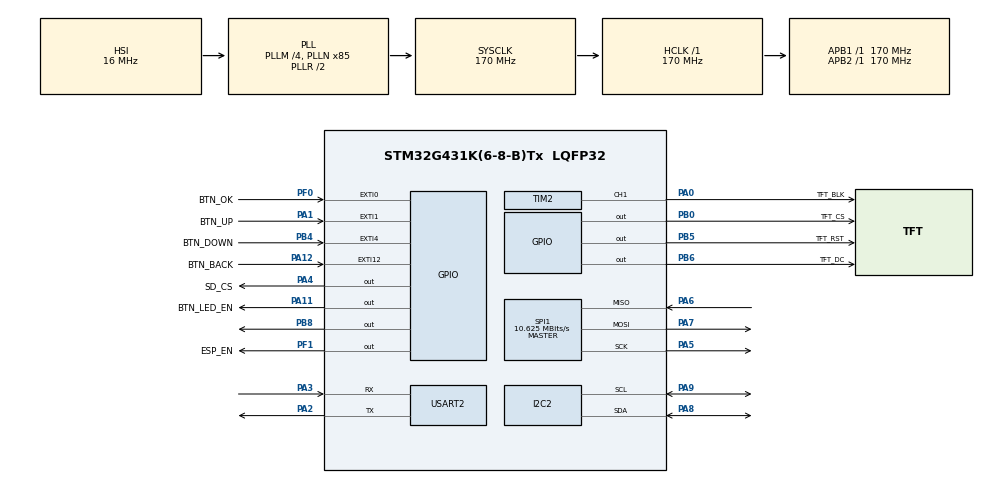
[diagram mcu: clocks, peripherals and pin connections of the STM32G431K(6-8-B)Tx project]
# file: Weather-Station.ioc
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FATFS._USE_STRFUNC=1
I2C2.Timing=0x40B285C2
Mcu.Family=STM32G4
Mcu.Name=STM32G431K(6-8-B)Tx
Mcu.Package=LQFP32
NUCLEO-G431KB.LD2=true
NUCLEO-G431KB.VCP=true
NVIC.EXTI0_IRQn=true\:0\:0\:false\:false\:true\:true\:true\:true
NVIC.EXTI15_10_IRQn=true\:0\:0\:false\:false\:true\:true\:true\:true
NVIC.EXTI1_IRQn=true\:0\:0\:false\:false\:true\:true\:true\:true
NVIC.EXTI4_IRQn=true\:0\:0\:false\:false\:true\:true\:true\:true
NVIC.PriorityGroup=NVIC_PRIORITYGROUP_4
NVIC.RTC_WKUP_IRQn=true\:0\:0\:false\:false\:true\:true\:true\:true
PA0.GPIO_Label=TFT_BLK
PA0.Signal=S_TIM2_CH1
PA1.GPIO_Label=BTN_UP
PA1.GPIO_ModeDefaultEXTI=GPIO_MODE_IT_FALLING
PA1.GPIO_PuPd=GPIO_PULLUP
PA1.Signal=GPXTI1
PA11.GPIO_Label=BTN_LED_EN
PA11.Signal=GPIO_Output
PA12.GPIO_Label=BTN_BACK
PA12.GPIO_ModeDefaultEXTI=GPIO_MODE_IT_FALLING
PA12.GPIO_PuPd=GPIO_PULLUP
PA12.Signal=GPXTI12
PA13.GPIO_Label=T_SWDIO
PA13.Signal=SYS_JTMS-SWDIO
PA14.GPIO_Label=T_SWCLK
PA14.Signal=SYS_JTCK-SWCLK
PA2.Mode=Asynchronous
PA2.Signal=USART2_TX
PA3.Mode=Asynchronous
PA3.Signal=USART2_RX
PA4.GPIO_Label=SD_CS
PA4.PinState=GPIO_PIN_SET
PA4.Signal=GPIO_Output
PA5.Mode=Full_Duplex_Master
PA5.Signal=SPI1_SCK
PA6.Mode=Full_Duplex_Master
PA6.Signal=SPI1_MISO
PA7.Mode=Full_Duplex_Master
PA7.Signal=SPI1_MOSI
PA8.Mode=I2C
PA8.Signal=I2C2_SDA
PA9.Mode=I2C
PA9.Signal=I2C2_SCL
PB0.GPIO_Label=TFT_CS
PB0.PinState=GPIO_PIN_SET
PB0.Signal=GPIO_Output
PB3.GPIO_Label=T_SWO
PB3.Signal=SYS_JTDO-SWO
PB4.GPIO_Label=BTN_DOWN
PB4.GPIO_ModeDefaultEXTI=GPIO_MODE_IT_FALLING
PB4.GPIO_PuPd=GPIO_PULLUP
PB4.Signal=GPXTI4
PB5.GPIO_Label=TFT_RST
PB5.Signal=GPIO_Output
PB6.GPIO_Label=TFT_DC
PB6.Signal=GPIO_Output
PB8-BOOT0.Signal=GPIO_Output
PF0-OSC_IN.GPIO_Label=BTN_OK
PF0-OSC_IN.GPIO_ModeDefaultEXTI=GPIO_MODE_IT_FALLING
PF0-OSC_IN.GPIO_PuPd=GPIO_PULLUP
PF0-OSC_IN.Signal=GPXTI0
PF1-OSC_OUT.GPIO_Label=ESP_EN
PF1-OSC_OUT.Signal=GPIO_Output
ProjectManager.HeapSize=0x200
ProjectManager.StackSize=0x400
ProjectManager.TargetToolchain=STM32CubeIDE
RCC.ADC12Freq_Value=170000000
RCC.AHBFreq_Value=170000000
RCC.APB1Freq_Value=170000000
RCC.APB1TimFreq_Value=170000000
RCC.APB2Freq_Value=170000000
RCC.APB2TimFreq_Value=170000000
RCC.CortexFreq_Value=170000000
RCC.EXTERNAL_CLOCK_VALUE=12288000
RCC.HCLKFreq_Value=170000000
RCC.HSE_VALUE=8000000
RCC.HSI48_VALUE=48000000
RCC.HSI_VALUE=16000000
RCC.LSE_VALUE=32768
RCC.PLLM=RCC_PLLM_DIV4
RCC.PLLN=85
RCC.SYSCLKFreq_VALUE=170000000
RCC.SYSCLKSource=RCC_SYSCLKSOURCE_PLLCLK
RCC.USBFreq_Value=170000000
RCC.VCOOutputFreq_Value=340000000
RTC.WakeUpClock=RTC_WAKEUPCLOCK_CK_SPRE_16BITS
RTC.WakeUpCounter=59
SH.S_TIM2_CH1.0=TIM2_CH1,PWM Generation1 CH1
SPI1.BaudRatePrescaler=SPI_BAUDRATEPRESCALER_16
SPI1.CalculateBaudRate=10.625 MBits/s
SPI1.DataSize=SPI_DATASIZE_8BIT
SPI1.Direction=SPI_DIRECTION_2LINES
SPI1.Mode=SPI_MODE_MASTER
SPI1.NSSPMode=SPI_NSS_PULSE_DISABLE
SPI1.VirtualType=VM_MASTER
TIM2.Channel-PWM\ Generation1\ CH1=TIM_CHANNEL_1
TIM2.PeriodNoDither=999
TIM2.Prescaler=169
VP_FATFS_VS_Generic.Mode=User_defined
VP_NUCLEO-G431KB_VS_BSP_COMMON.Mode=COMMON
VP_RTC_VS_RTC_Activate.Mode=RTC_Enabled
VP_RTC_VS_RTC_WakeUp_intern.Mode=WakeUp
VP_SYS_VS_DBSignals.Mode=DisableDeadBatterySignals
VP_TIM2_VS_ClockSourceINT.Mode=Internal
board=NUCLEO-G431KB

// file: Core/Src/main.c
/* USER CODE BEGIN Header */
/**
  ******************************************************************************
  * @file           : main.c
  * @brief          : Main program body
  ******************************************************************************
  * @attention
  *
  * Copyright (c) 2026 STMicroelectronics.
  * All rights reserved.
  *
  * This software is licensed under terms that can be found in the LICENSE file
  * in the root directory of this software component.
  * If no LICENSE file comes with this software, it is provided AS-IS.
  *
  ******************************************************************************
  */
/* USER CODE END Header */
#include "main.h"
#include "app_fatfs.h"

/* USER CODE BEGIN Includes */
#include "app_config.h"
#include "bme680.h"
#include "ltr390.h"
#include "ili9341.h"
#include "sd_spi.h"
#include "sd_logger.h"
#include <stdio.h>
#include <string.h>
/* USER CODE END Includes */

/* USER CODE BEGIN PD */
#define FW_VERSION  "1.0.0"
/* USER CODE END PD */

COM_InitTypeDef BspCOMInit;

I2C_HandleTypeDef hi2c2;

RTC_HandleTypeDef hrtc;

SPI_HandleTypeDef hspi1;

TIM_HandleTypeDef htim2;

/* USER CODE BEGIN PV */
static BME680_Dev   bme680;
static LTR390_Dev   ltr390;
static ILI9341_Dev  tft;
SD_Dev              sd_card;
static uint32_t     lastSensorRead = 0;
/* USER CODE END PV */

void SystemClock_Config(void);
static void MX_GPIO_Init(void);
static void MX_RTC_Init(void);
static void MX_SPI1_Init(void);
static void MX_TIM2_Init(void);
static void MX_I2C2_Init(void);
/* USER CODE BEGIN PFP */
static void I2C_BusScan(I2C_HandleTypeDef *hi2c);
static void TFT_DrawDashboardLayout(void);
static void TFT_UpdateDashboardValues(const BME680_Data *bd, const LTR390_Data *ld);
/* USER CODE END PFP */

/* USER CODE BEGIN 0 */

/* ── I2C bus scan: probe every 7-bit address and print results ──────────── */
static void I2C_BusScan(I2C_HandleTypeDef *hi2c)
{
    printf("I2C1 bus scan (0x01 – 0x7F):\r\n");
    uint8_t found = 0;
    for (uint8_t addr = 1; addr < 128; addr++) {
        if (HAL_I2C_IsDeviceReady(hi2c, (uint16_t)(addr << 1), 1, 10) == HAL_OK) {
            printf("  [0x%02X] ACK", addr);
            if (addr == BME680_I2C_ADDR) printf(" ← BME680");
            if (addr == LTR390_I2C_ADDR) printf(" ← LTR390");
            printf("\r\n");
            found++;
        }
    }
    printf("  %u device(s) found.\r\n\r\n", found);
}

/* ── Draw static dashboard layout on ILI9341 ────────────────────────────── */
static void TFT_DrawDashboardLayout(void)
{
    /* Clear screen to dark navy */
    ILI9341_FillScreen(&tft, ILI9341_BLACK);

    /* Header Bar */
    ILI9341_FillRect(&tft, 0, 0, tft.width, 30, ILI9341_NAVY);
    ILI9341_DrawString(&tft, 10, 8, "WEATHER STATION v1.0", ILI9341_WHITE, ILI9341_NAVY, 2);

    /* Cards Outline / Divider Lines */
    ILI9341_DrawHLine(&tft, 0, 31, tft.width, ILI9341_DARKCYAN);
    ILI9341_DrawHLine(&tft, 0, 130, tft.width, ILI9341_DARKGREY);
    ILI9341_DrawVLine(&tft, 160, 32, 198, ILI9341_DARKGREY);
    ILI9341_DrawHLine(&tft, 0, 230, tft.width, ILI9341_DARKCYAN);

    /* Section Labels */
    /* Left column */
    ILI9341_DrawString(&tft, 10, 38, "TEMPERATURE", ILI9341_CYAN, ILI9341_BLACK, 1);
    ILI9341_DrawString(&tft, 10, 84, "HUMIDITY", ILI9341_CYAN, ILI9341_BLACK, 1);
    ILI9341_DrawString(&tft, 10, 138, "PRESSURE", ILI9341_CYAN, ILI9341_BLACK, 1);
    ILI9341_DrawString(&tft, 10, 184, "DEW POINT", ILI9341_CYAN, ILI9341_BLACK, 1);

    /* Right column */
    ILI9341_DrawString(&tft, 170, 38, "AMBIENT LIGHT", ILI9341_YELLOW, ILI9341_BLACK, 1);
    ILI9341_DrawString(&tft, 170, 84, "UV INDEX", ILI9341_YELLOW, ILI9341_BLACK, 1);
    ILI9341_DrawString(&tft, 170, 138, "AIR QUALITY (IAQ)", ILI9341_GREEN, ILI9341_BLACK, 1);
    ILI9341_DrawString(&tft, 170, 184, "GAS RESISTANCE", ILI9341_GREEN, ILI9341_BLACK, 1);
}

/* ── Update live values on ILI9341 dashboard ────────────────────────────── */
static void TFT_UpdateDashboardValues(const BME680_Data *bd, const LTR390_Data *ld)
{
    char buf[32];

    /* Temperature */
    snprintf(buf, sizeof(buf), "%5.1f C", bd->temperature);
    ILI9341_DrawString(&tft, 10, 52, buf, ILI9341_WHITE, ILI9341_BLACK, 2);

    /* Humidity */
    snprintf(buf, sizeof(buf), "%5.1f %%", bd->humidity);
    ILI9341_DrawString(&tft, 10, 98, buf, ILI9341_WHITE, ILI9341_BLACK, 2);

    /* Pressure */
    snprintf(buf, sizeof(buf), "%6.1f hPa", bd->pressure);
    ILI9341_DrawString(&tft, 10, 152, buf, ILI9341_WHITE, ILI9341_BLACK, 2);

    /* Dew Point */
    snprintf(buf, sizeof(buf), "%5.1f C", bd->dew_point);
    ILI9341_DrawString(&tft, 10, 198, buf, ILI9341_WHITE, ILI9341_BLACK, 2);

    /* Ambient Light (Lux) */
    snprintf(buf, sizeof(buf), "%5.0f Lux", ld->lux);
    ILI9341_DrawString(&tft, 170, 52, buf, ILI9341_WHITE, ILI9341_BLACK, 2);

    /* UV Index */
    snprintf(buf, sizeof(buf), "%4.1f UV ", ld->uv_index);
    ILI9341_DrawString(&tft, 170, 98, buf, ILI9341_WHITE, ILI9341_BLACK, 2);

    /* Air Quality (IAQ) */
    if (bd->gas_valid) {
        snprintf(buf, sizeof(buf), "%3.0f %-6s", bd->iaq_score, bd->iaq_text);
        uint16_t iaq_color = (bd->iaq_score <= 50.0f) ? ILI9341_GREEN :
                             (bd->iaq_score <= 100.0f) ? ILI9341_YELLOW : ILI9341_ORANGE;
        ILI9341_DrawString(&tft, 170, 152, buf, iaq_color, ILI9341_BLACK, 2);
    } else {
        ILI9341_DrawString(&tft, 170, 152, "Warmup... ", ILI9341_DARKGREY, ILI9341_BLACK, 2);
    }

    /* Gas Resistance */
    if (bd->gas_valid) {
        snprintf(buf, sizeof(buf), "%5.1f kOhm", bd->gas_resistance / 1000.0f);
        ILI9341_DrawString(&tft, 170, 198, buf, ILI9341_WHITE, ILI9341_BLACK, 2);
    } else {
        ILI9341_DrawString(&tft, 170, 198, "--------- ", ILI9341_DARKGREY, ILI9341_BLACK, 2);
    }
}

/* USER CODE END 0 */

int main(void)
{

  /* MCU Configuration--------------------------------------------------------*/

  /* Reset of all peripherals, Initializes the Flash interface and the Systick. */
  HAL_Init();

  /* Configure the system clock */
  SystemClock_Config();

  /* Initialize all configured peripherals */
  MX_GPIO_Init();
  MX_RTC_Init();
  MX_SPI1_Init();
  MX_TIM2_Init();
  if (MX_FATFS_Init() != APP_OK) {
    Error_Handler();
  }
  MX_I2C2_Init();

  /* Initialize leds */
  BSP_LED_Init(LED_GREEN);

  /* Initialize COM1 port (115200, 8 bits (7-bit data + 1 stop bit), no parity */
  BspCOMInit.BaudRate   = 115200;
  BspCOMInit.WordLength = COM_WORDLENGTH_8B;
  BspCOMInit.StopBits   = COM_STOPBITS_1;
  BspCOMInit.Parity     = COM_PARITY_NONE;
  BspCOMInit.HwFlowCtl  = COM_HWCONTROL_NONE;
  if (BSP_COM_Init(COM1, &BspCOMInit) != BSP_ERROR_NONE)
  {
    Error_Handler();
  }

  /* Infinite loop */
  /* USER CODE BEGIN WHILE */

  /* ── Startup banner over USART2 ──────────────────────────────────────── */
    printf("\r\n");
    printf("========================================\r\n");
  #if OUTDOOR_MODE
    printf("  Weather Station v%s  [OUTDOOR]\r\n", FW_VERSION);
  #else
    printf("  Weather Station v%s  [INDOOR]\r\n", FW_VERSION);
  #endif
    printf("  STM32G431KB @ 170 MHz\r\n");
    printf("========================================\r\n\r\n");

    /* ── I2C bus scan ────────────────────────────────────────────────────── */
    I2C_BusScan(&hi2c2);

    /* ── BME680 init ─────────────────────────────────────────────────────── */
    printf("BME680: ");
    BME680_Status bme_st = BME680_Init(&bme680, &hi2c2, BME680_I2C_ADDR);
    if (bme_st == BME680_OK)
        printf("OK (chip ID 0x61)\r\n");
    else
        printf("FAIL (err %d)\r\n", bme_st);

    /* ── LTR390 init ─────────────────────────────────────────────────────── */
    printf("LTR390: ");
    LTR390_Status ltr_st = LTR390_Init(&ltr390, &hi2c2, LTR390_I2C_ADDR);
    if (ltr_st == LTR390_OK)
        printf("OK (part ID 0xB2)\r\n");
    else
        printf("FAIL (err %d)\r\n", ltr_st);

    /* ── ILI9341 2.8\" TFT display init ────────────────────────────────────── */
    printf("ILI9341: ");
    ILI9341_Init(&tft, &hspi1, &htim2, TIM_CHANNEL_1);
    ILI9341_SetRotation(&tft, ILI9341_ROTATION_LANDSCAPE);
    printf("OK (%u x %u)\r\n", tft.width, tft.height);

    /* Draw static dashboard frame on screen */
    TFT_DrawDashboardLayout();

    /* ── MicroSD card init (SPI1) ────────────────────────────────────────── */
    #if ENABLE_SD_LOGGING
        printf("MicroSD: ");
        SD_Status sd_st = SD_Init(&sd_card, &hspi1);
        if (sd_st == SD_OK) {
            uint32_t mb = (sd_card.sector_count / 2048);
            printf("OK (Type 0x%02X, Capacity: %lu MB)\r\n", sd_card.card_type, (unsigned long)mb);
            SD_Logger_Init();
            printf("\r\n");
        } else {
            printf("FAIL (err %d - check card insertion)\r\n\r\n", sd_st);
        }
    #else
        printf("MicroSD: Disabled (v%s)\r\n\r\n", FW_VERSION);
    #endif
  while (1)
  {
    /* USER CODE END WHILE */

    /* USER CODE BEGIN 3 */

    /* ── Periodic sensor read & display refresh (every SENSOR_POLL_MS) ── */
    if ((HAL_GetTick() - lastSensorRead) >= SENSOR_POLL_MS)
    {
        lastSensorRead = HAL_GetTick();

        /* BME680 — forced mode T/P/H + Gas */
#if OUTDOOR_MODE
        BME680_Status bs = BME680_ReadForced(&bme680, false);
#else
        BME680_Status bs = BME680_ReadForced(&bme680, true);
#endif

        /* LTR390 — ALS (lux) + UVS (UV index) */
        LTR390_Status ls = LTR390_Read(&ltr390);

        if (bs == BME680_OK && ls == LTR390_OK)
        {
            const BME680_Data *bd = BME680_GetData(&bme680);
            const LTR390_Data *ld = LTR390_GetData(&ltr390);

            /* 1. Update ILI9341 display */
            TFT_UpdateDashboardValues(bd, ld);

            /* 2. Ambient auto-dimming: adjust backlight PWM from lux */
            uint16_t pwm_duty = (uint16_t)(ld->lux * 1.5f);
            if (pwm_duty < 150)  pwm_duty = 150;  /* Minimum readable level */
            if (pwm_duty > 999)  pwm_duty = 999;
            ILI9341_SetBacklight(&tft, pwm_duty);

            /* 3. Night-mode button LED logic: PA11 HIGH when dark (< 20 lux) */
            if (ld->lux < BTN_LED_LUX_THRESH) {
                HAL_GPIO_WritePin(BTN_LED_EN_GPIO_Port, BTN_LED_EN_Pin, GPIO_PIN_SET);
            } else {
                HAL_GPIO_WritePin(BTN_LED_EN_GPIO_Port, BTN_LED_EN_Pin, GPIO_PIN_RESET);
            }

            /* 4. Console log */
            printf("T: %.1f C  |  P: %.1f hPa  |  H: %.1f %%  |  Dew: %.1f C",
                   bd->temperature, bd->pressure, bd->humidity, bd->dew_point);
            if (bd->gas_valid)
                printf("  |  IAQ: %.0f (%s)  |  Gas: %.1f kOhm",
                       bd->iaq_score, bd->iaq_text, bd->gas_resistance / 1000.0f);
            printf("\r\nLux: %.1f  |  UV: %.2f  |  PWM: %u\r\n\r\n",
                   ld->lux, ld->uv_index, pwm_duty);

			#if ENABLE_SD_LOGGING
            /* 5. MicroSD CSV Logging (every SD_LOG_INTERVAL_MS) */
            static uint32_t lastSdLog = 0;
            if ((HAL_GetTick() - lastSdLog) >= SD_LOG_INTERVAL_MS) {
                lastSdLog = HAL_GetTick();
                if (SD_Logger_IsActive()) {
                    SD_Logger_LogWeather(HAL_GetTick() / 1000, bd, ld);
                }
            }
			#endif
        }
        else
        {
            printf("Sensor read error: BME680=%d, LTR390=%d\r\n", bs, ls);
        }

        /* Heartbeat LED toggle */
		BSP_LED_Toggle(LED_GREEN);
    }
  }
  /* USER CODE END 3 */
}

void SystemClock_Config(void)
{
  RCC_OscInitTypeDef RCC_OscInitStruct = {0};
  RCC_ClkInitTypeDef RCC_ClkInitStruct = {0};

  /** Configure the main internal regulator output voltage
  */
  HAL_PWREx_ControlVoltageScaling(PWR_REGULATOR_VOLTAGE_SCALE1_BOOST);

  /** Initializes the RCC Oscillators according to the specified parameters
  * in the RCC_OscInitTypeDef structure.
  */
  RCC_OscInitStruct.OscillatorType = RCC_OSCILLATORTYPE_HSI|RCC_OSCILLATORTYPE_LSI;
  RCC_OscInitStruct.HSIState = RCC_HSI_ON;
  RCC_OscInitStruct.HSICalibrationValue = RCC_HSICALIBRATION_DEFAULT;
  RCC_OscInitStruct.LSIState = RCC_LSI_ON;
  RCC_OscInitStruct.PLL.PLLState = RCC_PLL_ON;
  RCC_OscInitStruct.PLL.PLLSource = RCC_PLLSOURCE_HSI;
  RCC_OscInitStruct.PLL.PLLM = RCC_PLLM_DIV4;
  RCC_OscInitStruct.PLL.PLLN = 85;
  RCC_OscInitStruct.PLL.PLLP = RCC_PLLP_DIV2;
  RCC_OscInitStruct.PLL.PLLQ = RCC_PLLQ_DIV2;
  RCC_OscInitStruct.PLL.PLLR = RCC_PLLR_DIV2;
  if (HAL_RCC_OscConfig(&RCC_OscInitStruct) != HAL_OK)
  {
    Error_Handler();
  }

  /** Initializes the CPU, AHB and APB buses clocks
  */
  RCC_ClkInitStruct.ClockType = RCC_CLOCKTYPE_HCLK|RCC_CLOCKTYPE_SYSCLK
                              |RCC_CLOCKTYPE_PCLK1|RCC_CLOCKTYPE_PCLK2;
  RCC_ClkInitStruct.SYSCLKSource = RCC_SYSCLKSOURCE_PLLCLK;
  RCC_ClkInitStruct.AHBCLKDivider = RCC_SYSCLK_DIV1;
  RCC_ClkInitStruct.APB1CLKDivider = RCC_HCLK_DIV1;
  RCC_ClkInitStruct.APB2CLKDivider = RCC_HCLK_DIV1;

  if (HAL_RCC_ClockConfig(&RCC_ClkInitStruct, FLASH_LATENCY_4) != HAL_OK)
  {
    Error_Handler();
  }
}

static void MX_I2C2_Init(void)
{

  hi2c2.Instance = I2C2;
  hi2c2.Init.Timing = 0x40B285C2;
  hi2c2.Init.OwnAddress1 = 0;
  hi2c2.Init.AddressingMode = I2C_ADDRESSINGMODE_7BIT;
  hi2c2.Init.DualAddressMode = I2C_DUALADDRESS_DISABLE;
  hi2c2.Init.OwnAddress2 = 0;
  hi2c2.Init.OwnAddress2Masks = I2C_OA2_NOMASK;
  hi2c2.Init.GeneralCallMode = I2C_GENERALCALL_DISABLE;
  hi2c2.Init.NoStretchMode = I2C_NOSTRETCH_DISABLE;
  if (HAL_I2C_Init(&hi2c2) != HAL_OK)
  {
    Error_Handler();
  }

  /** Configure Analogue filter
  */
  if (HAL_I2CEx_ConfigAnalogFilter(&hi2c2, I2C_ANALOGFILTER_ENABLE) != HAL_OK)
  {
    Error_Handler();
  }

  /** Configure Digital filter
  */
  if (HAL_I2CEx_ConfigDigitalFilter(&hi2c2, 0) != HAL_OK)
  {
    Error_Handler();
  }

}

static void MX_RTC_Init(void)
{

  /** Initialize RTC Only
  */
  hrtc.Instance = RTC;
  hrtc.Init.HourFormat = RTC_HOURFORMAT_24;
  hrtc.Init.AsynchPrediv = 127;
  hrtc.Init.SynchPrediv = 255;
  hrtc.Init.OutPut = RTC_OUTPUT_DISABLE;
  hrtc.Init.OutPutRemap = RTC_OUTPUT_REMAP_NONE;
  hrtc.Init.OutPutPolarity = RTC_OUTPUT_POLARITY_HIGH;
  hrtc.Init.OutPutType = RTC_OUTPUT_TYPE_OPENDRAIN;
  hrtc.Init.OutPutPullUp = RTC_OUTPUT_PULLUP_NONE;
  if (HAL_RTC_Init(&hrtc) != HAL_OK)
  {
    Error_Handler();
  }

  /** Enable the WakeUp
  */
  if (HAL_RTCEx_SetWakeUpTimer_IT(&hrtc, 59, RTC_WAKEUPCLOCK_CK_SPRE_16BITS) != HAL_OK)
  {
    Error_Handler();
  }

}

static void MX_SPI1_Init(void)
{

  /* SPI1 parameter configuration*/
  hspi1.Instance = SPI1;
  hspi1.Init.Mode = SPI_MODE_MASTER;
  hspi1.Init.Direction = SPI_DIRECTION_2LINES;
  hspi1.Init.DataSize = SPI_DATASIZE_8BIT;
  hspi1.Init.CLKPolarity = SPI_POLARITY_LOW;
  hspi1.Init.CLKPhase = SPI_PHASE_1EDGE;
  hspi1.Init.NSS = SPI_NSS_SOFT;
  hspi1.Init.BaudRatePrescaler = SPI_BAUDRATEPRESCALER_16;
  hspi1.Init.FirstBit = SPI_FIRSTBIT_MSB;
  hspi1.Init.TIMode = SPI_TIMODE_DISABLE;
  hspi1.Init.CRCCalculation = SPI_CRCCALCULATION_DISABLE;
  hspi1.Init.CRCPolynomial = 7;
  hspi1.Init.CRCLength = SPI_CRC_LENGTH_DATASIZE;
  hspi1.Init.NSSPMode = SPI_NSS_PULSE_DISABLE;
  if (HAL_SPI_Init(&hspi1) != HAL_OK)
  {
    Error_Handler();
  }

}

static void MX_TIM2_Init(void)
{

  TIM_ClockConfigTypeDef sClockSourceConfig = {0};
  TIM_MasterConfigTypeDef sMasterConfig = {0};
  TIM_OC_InitTypeDef sConfigOC = {0};

  htim2.Instance = TIM2;
  htim2.Init.Prescaler = 169;
  htim2.Init.CounterMode = TIM_COUNTERMODE_UP;
  htim2.Init.Period = 999;
  htim2.Init.ClockDivision = TIM_CLOCKDIVISION_DIV1;
  htim2.Init.AutoReloadPreload = TIM_AUTORELOAD_PRELOAD_DISABLE;
  if (HAL_TIM_Base_Init(&htim2) != HAL_OK)
  {
    Error_Handler();
  }
  sClockSourceConfig.ClockSource = TIM_CLOCKSOURCE_INTERNAL;
  if (HAL_TIM_ConfigClockSource(&htim2, &sClockSourceConfig) != HAL_OK)
  {
    Error_Handler();
  }
  if (HAL_TIM_PWM_Init(&htim2) != HAL_OK)
  {
    Error_Handler();
  }
  sMasterConfig.MasterOutputTrigger = TIM_TRGO_RESET;
  sMasterConfig.MasterSlaveMode = TIM_MASTERSLAVEMODE_DISABLE;
  if (HAL_TIMEx_MasterConfigSynchronization(&htim2, &sMasterConfig) != HAL_OK)
  {
    Error_Handler();
  }
  sConfigOC.OCMode = TIM_OCMODE_PWM1;
  sConfigOC.Pulse = 0;
  sConfigOC.OCPolarity = TIM_OCPOLARITY_HIGH;
  sConfigOC.OCFastMode = TIM_OCFAST_DISABLE;
  if (HAL_TIM_PWM_ConfigChannel(&htim2, &sConfigOC, TIM_CHANNEL_1) != HAL_OK)
  {
    Error_Handler();
  }
  HAL_TIM_MspPostInit(&htim2);

}

static void MX_GPIO_Init(void)
{
  GPIO_InitTypeDef GPIO_InitStruct = {0};

  /* GPIO Ports Clock Enable */
  __HAL_RCC_GPIOF_CLK_ENABLE();
  __HAL_RCC_GPIOA_CLK_ENABLE();
  __HAL_RCC_GPIOB_CLK_ENABLE();

  /*Configure GPIO pin Output Level */
  HAL_GPIO_WritePin(ESP_EN_GPIO_Port, ESP_EN_Pin, GPIO_PIN_RESET);

  /*Configure GPIO pin Output Level */
  HAL_GPIO_WritePin(SD_CS_GPIO_Port, SD_CS_Pin, GPIO_PIN_SET);

  /*Configure GPIO pin Output Level */
  HAL_GPIO_WritePin(TFT_CS_GPIO_Port, TFT_CS_Pin, GPIO_PIN_SET);

  /*Configure GPIO pin Output Level */
  HAL_GPIO_WritePin(BTN_LED_EN_GPIO_Port, BTN_LED_EN_Pin, GPIO_PIN_RESET);

  /*Configure GPIO pin Output Level */
  HAL_GPIO_WritePin(GPIOB, TFT_RST_Pin|TFT_DC_Pin, GPIO_PIN_RESET);

  /*Configure GPIO pin : BTN_OK_Pin */
  GPIO_InitStruct.Pin = BTN_OK_Pin;
  GPIO_InitStruct.Mode = GPIO_MODE_IT_FALLING;
  GPIO_InitStruct.Pull = GPIO_PULLUP;
  HAL_GPIO_Init(BTN_OK_GPIO_Port, &GPIO_InitStruct);

  /*Configure GPIO pin : ESP_EN_Pin */
  GPIO_InitStruct.Pin = ESP_EN_Pin;
  GPIO_InitStruct.Mode = GPIO_MODE_OUTPUT_PP;
  GPIO_InitStruct.Pull = GPIO_NOPULL;
  GPIO_InitStruct.Speed = GPIO_SPEED_FREQ_LOW;
  HAL_GPIO_Init(ESP_EN_GPIO_Port, &GPIO_InitStruct);

  /*Configure GPIO pins : BTN_UP_Pin BTN_BACK_Pin */
  GPIO_InitStruct.Pin = BTN_UP_Pin|BTN_BACK_Pin;
  GPIO_InitStruct.Mode = GPIO_MODE_IT_FALLING;
  GPIO_InitStruct.Pull = GPIO_PULLUP;
  HAL_GPIO_Init(GPIOA, &GPIO_InitStruct);

  /*Configure GPIO pins : SD_CS_Pin BTN_LED_EN_Pin */
  GPIO_InitStruct.Pin = SD_CS_Pin|BTN_LED_EN_Pin;
  GPIO_InitStruct.Mode = GPIO_MODE_OUTPUT_PP;
  GPIO_InitStruct.Pull = GPIO_NOPULL;
  GPIO_InitStruct.Speed = GPIO_SPEED_FREQ_LOW;
  HAL_GPIO_Init(GPIOA, &GPIO_InitStruct);

  /*Configure GPIO pins : TFT_CS_Pin TFT_RST_Pin TFT_DC_Pin */
  GPIO_InitStruct.Pin = TFT_CS_Pin|TFT_RST_Pin|TFT_DC_Pin;
  GPIO_InitStruct.Mode = GPIO_MODE_OUTPUT_PP;
  GPIO_InitStruct.Pull = GPIO_NOPULL;
  GPIO_InitStruct.Speed = GPIO_SPEED_FREQ_LOW;
  HAL_GPIO_Init(GPIOB, &GPIO_InitStruct);

  /*Configure GPIO pin : BTN_DOWN_Pin */
  GPIO_InitStruct.Pin = BTN_DOWN_Pin;
  GPIO_InitStruct.Mode = GPIO_MODE_IT_FALLING;
  GPIO_InitStruct.Pull = GPIO_PULLUP;
  HAL_GPIO_Init(BTN_DOWN_GPIO_Port, &GPIO_InitStruct);

  /* EXTI interrupt init*/
  HAL_NVIC_SetPriority(EXTI0_IRQn, 0, 0);
  HAL_NVIC_EnableIRQ(EXTI0_IRQn);

  HAL_NVIC_SetPriority(EXTI1_IRQn, 0, 0);
  HAL_NVIC_EnableIRQ(EXTI1_IRQn);

  HAL_NVIC_SetPriority(EXTI4_IRQn, 0, 0);
  HAL_NVIC_EnableIRQ(EXTI4_IRQn);

  HAL_NVIC_SetPriority(EXTI15_10_IRQn, 0, 0);
  HAL_NVIC_EnableIRQ(EXTI15_10_IRQn);

}

/* USER CODE BEGIN Header */
/**
  ******************************************************************************
  * @file           : main.c
  * @brief          : Main program body
  ******************************************************************************
  * @attention
  *
  * Copyright (c) 2026 STMicroelectronics.
  * All rights reserved.
  *
  * This software is licensed under terms that can be found in the LICENSE file
  * in the root directory of this software component.
  * If no LICENSE file comes with this software, it is provided AS-IS.
  *
  ******************************************************************************
  */
/* USER CODE END Header */

void Error_Handler(void)
{
  __disable_irq();
  while (1)
  {
  }
}
